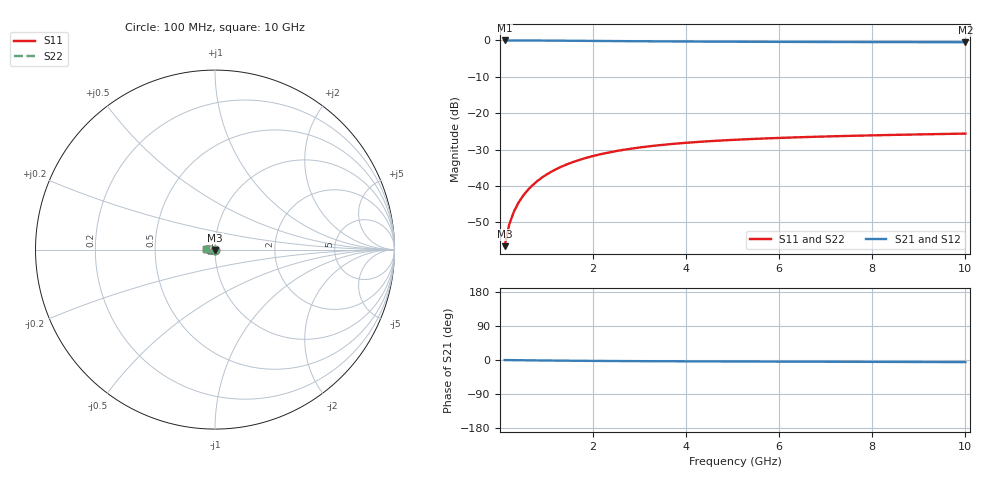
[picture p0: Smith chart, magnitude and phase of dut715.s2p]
! Touchstone file exported from HFSS 2024.1.0
!  File:  C:/UserFiles/LocalFiles/RDL_TSV_Batchsim/temp_TSV1_715_1779867751.aedt
!  Generated:  03:50:55 PM May 27, 2026
!  Design:  TSV1
!  Project:  temp_TSV1_715_1779867751
!  Setup:  Setup1
!  Solution:  Sweep
! Variables:
!  dtsv = 11.47um
!  hbump = 3um
!  htsv = 87.39um
!  lrdl = 252.1521522um
!  p = 40
!  p1 = 55.04um
!  t = 500um
!  trdl = 3um
!  wrdl = 24.89489489um
# GHz S MA R 50.000000
! Terminal data exported
! Port[1] = TSV22_T1
! Port[2] = TSV22_T2
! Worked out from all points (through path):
!   100 points, 100 MHz to 10 GHz, reference 50 ohm
!   highest |S21| = 0.00 dB at 100 MHz (marker M1); lowest = -0.5 dB at 10 GHz (marker M2)
!   lowest |S11| = -56.6 dB at 100 MHz (marker M3), VSWR 1.00, Z = 50 - j0.148 ohm
!   |S11| at or under -10 dB: start of sweep to end of sweep
!   |S22| runs from -56.6 to -25.6 dB; largest |S21 - S12| = 3.2e-15
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0.1  0.001484 -87.4  0.9998 -0.1  0.9998 -0.1  0.001484 -87.4
! Gamma 0 0 0 0
! Port Impedance 50 0 50 0
0.2  0.002961 -91.4  0.9997 -0.3  0.9997 -0.3  0.002961 -91.4
0.3  0.004436 -94.0  0.9994 -0.4  0.9994 -0.4  0.004436 -94.0
0.4  0.005904 -96.2  0.999 -0.6  0.999 -0.6  0.005904 -96.2
0.5  0.00736 -98.3  0.9986 -0.7  0.9986 -0.7  0.00736 -98.3
0.6  0.0088 -100.3  0.9981 -0.8  0.9981 -0.8  0.0088 -100.3
0.7  0.01022 -102.3  0.9975 -1.0  0.9975 -1.0  0.01022 -102.3
0.8  0.01161 -104.2  0.9968 -1.1  0.9968 -1.1  0.01161 -104.2
0.9  0.01298 -106.1  0.9961 -1.2  0.9961 -1.2  0.01298 -106.1
1.1  0.01562 -109.7  0.9944 -1.5  0.9944 -1.5  0.01562 -109.7
1.4  0.01933 -115.0  0.9916 -1.8  0.9916 -1.8  0.01933 -115.0
1.6  0.02162 -118.3  0.9895 -2.0  0.9895 -2.0  0.02162 -118.3
1.8  0.02376 -121.4  0.9874 -2.2  0.9874 -2.2  0.02376 -121.4
2.1  0.0267 -125.9  0.9842 -2.4  0.9842 -2.4  0.0267 -125.9
2.5  0.03014 -131.3  0.98 -2.7  0.98 -2.7  0.03014 -131.3
2.9  0.03307 -136.3  0.976 -3.0  0.976 -3.0  0.03307 -136.3
3.4  0.03615 -141.8  0.9715 -3.3  0.9715 -3.3  0.03615 -141.8
4.2  0.04 -149.5  0.9654 -3.6  0.9654 -3.6  0.04 -149.5
5.1  0.04322 -156.7  0.9601 -3.9  0.9601 -3.9  0.04322 -156.7
6.7  0.04722 -166.9  0.9533 -4.5  0.9533 -4.5  0.04722 -166.9
8.4  0.05018 -175.6  0.9487 -5.1  0.9487 -5.1  0.05018 -175.6
10  0.05237 177.6  0.9458 -5.6  0.9458 -5.6  0.05237 177.6
